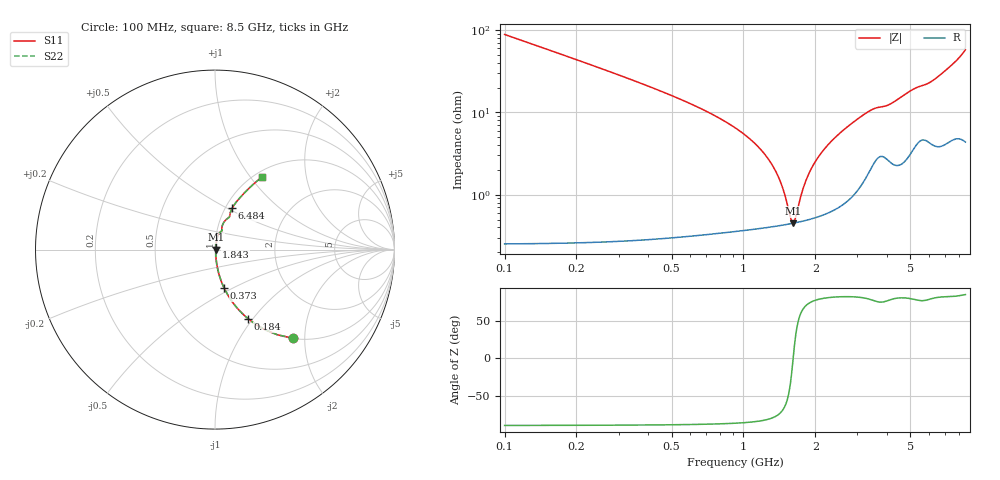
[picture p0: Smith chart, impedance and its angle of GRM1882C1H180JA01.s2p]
!Murata Part Number: GRM1882C1H180JA01
!These Parameters are Measured in Series Mode Connection
!Data Generated on Mar 30, 2021
!  o--ll--o
!Port1  Port2
!  o------o
!Operation Temp=25[degC], DC Bias Voltage=0[V]
!Freq. Start=100[MHz] Stop=9[GHz] 401[Steps]
# Hz S RI R 50
!Freq.(Hz) S11(Real) S11(Imag) S21(Real) S21(Imag) S12(Real) S12(Imag) S22(Real) S22(Imag)
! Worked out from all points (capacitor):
!   401 points, 100 MHz to 8.5 GHz, reference 50 ohm
!   read as one part in series: C = 18 pF near 142 MHz
!   lowest |Z| = 451 mohm at 1.612 GHz (marker M1)
!   series resonance near 1.615 GHz, so ESL is about 540 pH
!   S11 on the Smith chart (normalised r, x): 100 MHz: 1.01, -1.76; 184 MHz: 1.01, -0.95; 373 MHz: 1.01, -0.45; 1.843 GHz: 1.01, +0.03; 6.484 GHz: 1.08, +0.53; 8.5 GHz: 1.09, +1.14
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1e8  0.437 -0.4946  0.563 0.4946  0.563 0.4946  0.437 -0.4946
1.84e8  0.1849 -0.3855  0.8151 0.3855  0.8151 0.3855  0.1849 -0.3855
2.68e8  0.0953 -0.2894  0.9047 0.2894  0.9047 0.2894  0.0953 -0.2894
3.73e8  0.0503 -0.2125  0.9497 0.2125  0.9497 0.2125  0.0503 -0.2125
6.88e8  0.0141 -0.1035  0.9859 0.1035  0.9859 0.1035  0.0141 -0.1035
1.213e9  0.00494 -0.0319  0.9951 0.0319  0.9951 0.0319  0.00494 -0.0319
1.381e9  0.00445 -0.0174  0.9956 0.0174  0.9956 0.0174  0.00445 -0.0174
1.507e9  0.00438 -0.00769  0.9956 0.00769  0.9956 0.00769  0.00438 -0.00769
1.57e9  0.00442 -0.00314  0.9956 0.00314  0.9956 0.00314  0.00442 -0.00314
1.612e9  0.00448 -0.000209  0.9955 0.000209  0.9955 0.000209  0.00448 -0.000209
1.654e9  0.00456 0.00266  0.9954 -0.00266  0.9954 -0.00266  0.00456 0.00266
1.759e9  0.00482 0.00958  0.9952 -0.00958  0.9952 -0.00958  0.00482 0.00958
1.843e9  0.00511 0.0149  0.9949 -0.0149  0.9949 -0.0149  0.00511 0.0149
2.011e9  0.00588 0.0251  0.9941 -0.0251  0.9941 -0.0251  0.00588 0.0251
2.221e9  0.00722 0.0372  0.9928 -0.0372  0.9928 -0.0372  0.00722 0.0372
2.914e9  0.0157 0.075  0.9843 -0.075  0.9843 -0.075  0.0157 0.075
3.439e9  0.0311 0.0997  0.9689 -0.0997  0.9689 -0.0997  0.0311 0.0997
4.3e9  0.0388 0.1257  0.9612 -0.1257  0.9612 -0.1257  0.0388 0.1257
5.707e9  0.081 0.1841  0.919 -0.1841  0.919 -0.1841  0.081 0.1841
6.484e9  0.0954 0.2301  0.9046 -0.2301  0.9046 -0.2301  0.0954 0.2301
7.114e9  0.1281 0.2769  0.8719 -0.2769  0.8719 -0.2769  0.1281 0.2769
8.5e9  0.2634 0.4041  0.7366 -0.4041  0.7366 -0.4041  0.2634 0.4041
